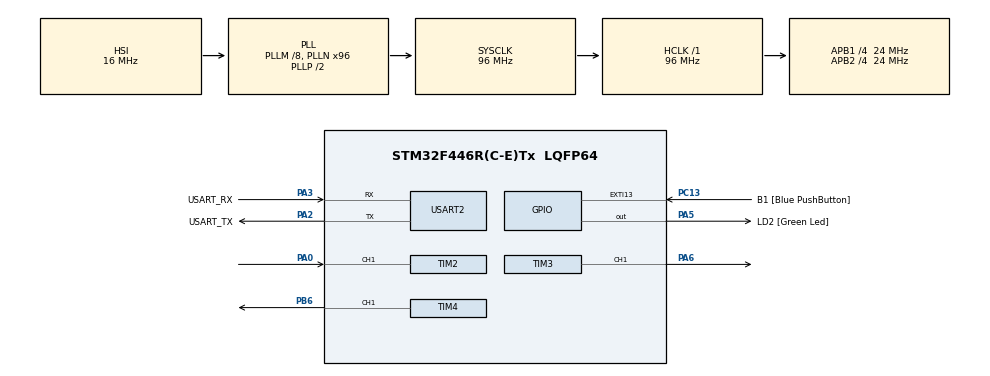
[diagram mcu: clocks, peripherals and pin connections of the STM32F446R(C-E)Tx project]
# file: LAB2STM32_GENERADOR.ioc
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Mcu.Family=STM32F4
Mcu.Name=STM32F446R(C-E)Tx
Mcu.Package=LQFP64
NVIC.PriorityGroup=NVIC_PRIORITYGROUP_0
NVIC.TIM2_IRQn=true\:0\:0\:false\:false\:true\:true\:true\:true
NVIC.TIM3_IRQn=true\:0\:0\:false\:false\:true\:true\:true\:true
NVIC.USART2_IRQn=true\:0\:0\:false\:false\:true\:true\:true\:true
PA0-WKUP.Signal=S_TIM2_CH1_ETR
PA13.GPIO_Label=TMS
PA13.Mode=Serial_Wire
PA13.Signal=SYS_JTMS-SWDIO
PA14.GPIO_Label=TCK
PA14.Mode=Serial_Wire
PA14.Signal=SYS_JTCK-SWCLK
PA2.GPIO_Label=USART_TX
PA2.Mode=Asynchronous
PA2.Signal=USART2_TX
PA3.GPIO_Label=USART_RX
PA3.Mode=Asynchronous
PA3.Signal=USART2_RX
PA5.GPIO_Label=LD2 [Green Led]
PA5.Signal=GPIO_Output
PA6.Signal=S_TIM3_CH1
PB3.GPIO_Label=SWO
PB3.Signal=SYS_JTDO-SWO
PB6.Signal=S_TIM4_CH1
PC13.GPIO_Label=B1 [Blue PushButton]
PC13.GPIO_ModeDefaultEXTI=GPIO_MODE_IT_FALLING
PC13.Signal=GPXTI13
PC14-OSC32_IN.Mode=LSE-External-Oscillator
PC14-OSC32_IN.Signal=RCC_OSC32_IN
PC15-OSC32_OUT.Mode=LSE-External-Oscillator
PC15-OSC32_OUT.Signal=RCC_OSC32_OUT
PH0-OSC_IN.Mode=HSE-External-Oscillator
PH0-OSC_IN.Signal=RCC_OSC_IN
PH1-OSC_OUT.Mode=HSE-External-Oscillator
PH1-OSC_OUT.Signal=RCC_OSC_OUT
ProjectManager.HeapSize=0x200
ProjectManager.StackSize=0x400
ProjectManager.TargetToolchain=STM32CubeIDE
RCC.48MHZClocksFreq_Value=84000000
RCC.AHBFreq_Value=96000000
RCC.APB1CLKDivider=RCC_HCLK_DIV4
RCC.APB1Freq_Value=24000000
RCC.APB1TimFreq_Value=48000000
RCC.APB2CLKDivider=RCC_HCLK_DIV4
RCC.APB2Freq_Value=24000000
RCC.APB2TimFreq_Value=48000000
RCC.CortexFreq_Value=96000000
RCC.FLatency-AdvancedSettings=FLASH_LATENCY_3
RCC.HCLKFreq_Value=96000000
RCC.HSE_VALUE=8000000
RCC.HSI_VALUE=16000000
RCC.PLLM=8
RCC.PLLN=96
RCC.SYSCLKFreq_VALUE=96000000
RCC.SYSCLKSource=RCC_SYSCLKSOURCE_PLLCLK
RCC.USBFreq_Value=96000000
RCC.VCOOutputFreq_Value=192000000
SH.S_TIM2_CH1_ETR.0=TIM2_CH1,Input_Capture1_from_TI1
SH.S_TIM3_CH1.0=TIM3_CH1,PWM Generation1 CH1
SH.S_TIM4_CH1.0=TIM4_CH1,PWM Generation1 CH1
TIM2.AutoReloadPreload=TIM_AUTORELOAD_PRELOAD_ENABLE
TIM2.Channel-Input_Capture1_from_TI1=TIM_CHANNEL_1
TIM2.CounterMode=TIM_COUNTERMODE_UP
TIM2.Prescaler=48-1
TIM3.Channel-PWM\ Generation1\ CH1=TIM_CHANNEL_1
TIM3.Period=49999
TIM3.Prescaler=479
TIM3.Pulse-PWM\ Generation1\ CH1=25000
TIM4.Channel-PWM\ Generation1\ CH1=TIM_CHANNEL_1
TIM4.Period=19999
TIM4.Prescaler=4799
TIM4.Pulse-PWM\ Generation1\ CH1=10000
USART2.VirtualMode=VM_ASYNC
VP_TIM2_VS_ClockSourceINT.Mode=Internal
VP_TIM3_VS_ClockSourceINT.Mode=Internal
VP_TIM4_VS_ClockSourceINT.Mode=Internal
board=NUCLEO-F446RE

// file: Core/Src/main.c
/* USER CODE BEGIN Header */
/**
  ******************************************************************************
  * @file           : main.c
  * @brief          : Main program body
  ******************************************************************************
  * @attention
  *
  * Copyright (c) 2026 STMicroelectronics.
  * All rights reserved.
  *
  * This software is licensed under terms that can be found in the LICENSE file
  * in the root directory of this software component.
  * If no LICENSE file comes with this software, it is provided AS-IS.
  *
  ******************************************************************************
  */
/* USER CODE END Header */
#include "main.h"

/* USER CODE BEGIN Includes */
#include "stdint.h"
#include <stdio.h>
#include <string.h>
/* USER CODE END Includes */

/* USER CODE BEGIN PTD */
void HAL_TIM_IC_CaptureCallback(TIM_HandleTypeDef *htim);
/* USER CODE END PTD */

/* USER CODE BEGIN PD */
#define ftimclick 1000000
/* USER CODE END PD */

TIM_HandleTypeDef htim2;
TIM_HandleTypeDef htim3;
TIM_HandleTypeDef htim4;

UART_HandleTypeDef huart2;

/* USER CODE BEGIN PV */
volatile uint8_t flagmedicion = 0;
volatile uint8_t numflanco = 0;
volatile uint32_t flanco1 = 0;
volatile uint32_t flanco2 = 0;
uint32_t delta = 0;
float frecuencia;
char msg[50];
/* USER CODE END PV */

void SystemClock_Config(void);
static void MX_GPIO_Init(void);
static void MX_TIM2_Init(void);
static void MX_USART2_UART_Init(void);
static void MX_TIM3_Init(void);
static void MX_TIM4_Init(void);

int main(void)
{

  /* MCU Configuration--------------------------------------------------------*/

  /* Reset of all peripherals, Initializes the Flash interface and the Systick. */
  HAL_Init();

  /* Configure the system clock */
  SystemClock_Config();

  /* Initialize all configured peripherals */
  MX_GPIO_Init();
  MX_TIM2_Init();
  MX_USART2_UART_Init();
  MX_TIM3_Init();
  MX_TIM4_Init();
  /* USER CODE BEGIN 2 */
  HAL_TIM_PWM_Start(&htim3, TIM_CHANNEL_1);
  //logica para iniciar el PW
  HAL_TIM_PWM_Start(&htim4, TIM_CHANNEL_1);
  /* USER CODE END 2 */

  /* Infinite loop */
  /* USER CODE BEGIN WHILE */
  while (1)
  {
	  HAL_TIM_IC_Start_IT(&htim2, TIM_CHANNEL_1);
	  while(flagmedicion == 0){
	  }
	  flagmedicion = 0;
	  delta = flanco2 - flanco1;
	  frecuencia = (ftimclick/ (float) delta);
	  sprintf(msg, "Frecuencia Hz = %.2f Hz\r\n", frecuencia);
	  HAL_UART_Transmit(&huart2, (uint8_t*)msg, strlen(msg), HAL_MAX_DELAY);
    /* USER CODE END WHILE */

  }
}

void SystemClock_Config(void)
{
  RCC_OscInitTypeDef RCC_OscInitStruct = {0};
  RCC_ClkInitTypeDef RCC_ClkInitStruct = {0};

  /** Configure the main internal regulator output voltage
  */
  __HAL_RCC_PWR_CLK_ENABLE();
  __HAL_PWR_VOLTAGESCALING_CONFIG(PWR_REGULATOR_VOLTAGE_SCALE3);

  /** Initializes the RCC Oscillators according to the specified parameters
  * in the RCC_OscInitTypeDef structure.
  */
  RCC_OscInitStruct.OscillatorType = RCC_OSCILLATORTYPE_HSI;
  RCC_OscInitStruct.HSIState = RCC_HSI_ON;
  RCC_OscInitStruct.HSICalibrationValue = RCC_HSICALIBRATION_DEFAULT;
  RCC_OscInitStruct.PLL.PLLState = RCC_PLL_ON;
  RCC_OscInitStruct.PLL.PLLSource = RCC_PLLSOURCE_HSI;
  RCC_OscInitStruct.PLL.PLLM = 8;
  RCC_OscInitStruct.PLL.PLLN = 96;
  RCC_OscInitStruct.PLL.PLLP = RCC_PLLP_DIV2;
  RCC_OscInitStruct.PLL.PLLQ = 2;
  RCC_OscInitStruct.PLL.PLLR = 2;
  if (HAL_RCC_OscConfig(&RCC_OscInitStruct) != HAL_OK)
  {
    Error_Handler();
  }

  /** Initializes the CPU, AHB and APB buses clocks
  */
  RCC_ClkInitStruct.ClockType = RCC_CLOCKTYPE_HCLK|RCC_CLOCKTYPE_SYSCLK
                              |RCC_CLOCKTYPE_PCLK1|RCC_CLOCKTYPE_PCLK2;
  RCC_ClkInitStruct.SYSCLKSource = RCC_SYSCLKSOURCE_PLLCLK;
  RCC_ClkInitStruct.AHBCLKDivider = RCC_SYSCLK_DIV1;
  RCC_ClkInitStruct.APB1CLKDivider = RCC_HCLK_DIV4;
  RCC_ClkInitStruct.APB2CLKDivider = RCC_HCLK_DIV4;

  if (HAL_RCC_ClockConfig(&RCC_ClkInitStruct, FLASH_LATENCY_3) != HAL_OK)
  {
    Error_Handler();
  }
}

static void MX_TIM2_Init(void)
{

  TIM_ClockConfigTypeDef sClockSourceConfig = {0};
  TIM_MasterConfigTypeDef sMasterConfig = {0};
  TIM_IC_InitTypeDef sConfigIC = {0};

  htim2.Instance = TIM2;
  htim2.Init.Prescaler = 48-1;
  htim2.Init.CounterMode = TIM_COUNTERMODE_UP;
  htim2.Init.Period = 4294967295;
  htim2.Init.ClockDivision = TIM_CLOCKDIVISION_DIV1;
  htim2.Init.AutoReloadPreload = TIM_AUTORELOAD_PRELOAD_ENABLE;
  if (HAL_TIM_Base_Init(&htim2) != HAL_OK)
  {
    Error_Handler();
  }
  sClockSourceConfig.ClockSource = TIM_CLOCKSOURCE_INTERNAL;
  if (HAL_TIM_ConfigClockSource(&htim2, &sClockSourceConfig) != HAL_OK)
  {
    Error_Handler();
  }
  if (HAL_TIM_IC_Init(&htim2) != HAL_OK)
  {
    Error_Handler();
  }
  sMasterConfig.MasterOutputTrigger = TIM_TRGO_RESET;
  sMasterConfig.MasterSlaveMode = TIM_MASTERSLAVEMODE_DISABLE;
  if (HAL_TIMEx_MasterConfigSynchronization(&htim2, &sMasterConfig) != HAL_OK)
  {
    Error_Handler();
  }
  sConfigIC.ICPolarity = TIM_INPUTCHANNELPOLARITY_RISING;
  sConfigIC.ICSelection = TIM_ICSELECTION_DIRECTTI;
  sConfigIC.ICPrescaler = TIM_ICPSC_DIV1;
  sConfigIC.ICFilter = 0;
  if (HAL_TIM_IC_ConfigChannel(&htim2, &sConfigIC, TIM_CHANNEL_1) != HAL_OK)
  {
    Error_Handler();
  }

}

static void MX_TIM3_Init(void)
{

  TIM_ClockConfigTypeDef sClockSourceConfig = {0};
  TIM_MasterConfigTypeDef sMasterConfig = {0};
  TIM_OC_InitTypeDef sConfigOC = {0};

  htim3.Instance = TIM3;
  htim3.Init.Prescaler = 479;
  htim3.Init.CounterMode = TIM_COUNTERMODE_UP;
  htim3.Init.Period = 49999;
  htim3.Init.ClockDivision = TIM_CLOCKDIVISION_DIV1;
  htim3.Init.AutoReloadPreload = TIM_AUTORELOAD_PRELOAD_DISABLE;
  if (HAL_TIM_Base_Init(&htim3) != HAL_OK)
  {
    Error_Handler();
  }
  sClockSourceConfig.ClockSource = TIM_CLOCKSOURCE_INTERNAL;
  if (HAL_TIM_ConfigClockSource(&htim3, &sClockSourceConfig) != HAL_OK)
  {
    Error_Handler();
  }
  if (HAL_TIM_PWM_Init(&htim3) != HAL_OK)
  {
    Error_Handler();
  }
  sMasterConfig.MasterOutputTrigger = TIM_TRGO_RESET;
  sMasterConfig.MasterSlaveMode = TIM_MASTERSLAVEMODE_DISABLE;
  if (HAL_TIMEx_MasterConfigSynchronization(&htim3, &sMasterConfig) != HAL_OK)
  {
    Error_Handler();
  }
  sConfigOC.OCMode = TIM_OCMODE_PWM1;
  sConfigOC.Pulse = 25000;
  sConfigOC.OCPolarity = TIM_OCPOLARITY_HIGH;
  sConfigOC.OCFastMode = TIM_OCFAST_DISABLE;
  if (HAL_TIM_PWM_ConfigChannel(&htim3, &sConfigOC, TIM_CHANNEL_1) != HAL_OK)
  {
    Error_Handler();
  }
  HAL_TIM_MspPostInit(&htim3);

}

static void MX_TIM4_Init(void)
{

  TIM_ClockConfigTypeDef sClockSourceConfig = {0};
  TIM_MasterConfigTypeDef sMasterConfig = {0};
  TIM_OC_InitTypeDef sConfigOC = {0};

  htim4.Instance = TIM4;
  htim4.Init.Prescaler = 4799;
  htim4.Init.CounterMode = TIM_COUNTERMODE_UP;
  htim4.Init.Period = 19999;
  htim4.Init.ClockDivision = TIM_CLOCKDIVISION_DIV1;
  htim4.Init.AutoReloadPreload = TIM_AUTORELOAD_PRELOAD_DISABLE;
  if (HAL_TIM_Base_Init(&htim4) != HAL_OK)
  {
    Error_Handler();
  }
  sClockSourceConfig.ClockSource = TIM_CLOCKSOURCE_INTERNAL;
  if (HAL_TIM_ConfigClockSource(&htim4, &sClockSourceConfig) != HAL_OK)
  {
    Error_Handler();
  }
  if (HAL_TIM_PWM_Init(&htim4) != HAL_OK)
  {
    Error_Handler();
  }
  sMasterConfig.MasterOutputTrigger = TIM_TRGO_RESET;
  sMasterConfig.MasterSlaveMode = TIM_MASTERSLAVEMODE_DISABLE;
  if (HAL_TIMEx_MasterConfigSynchronization(&htim4, &sMasterConfig) != HAL_OK)
  {
    Error_Handler();
  }
  sConfigOC.OCMode = TIM_OCMODE_PWM1;
  sConfigOC.Pulse = 10000;
  sConfigOC.OCPolarity = TIM_OCPOLARITY_HIGH;
  sConfigOC.OCFastMode = TIM_OCFAST_DISABLE;
  if (HAL_TIM_PWM_ConfigChannel(&htim4, &sConfigOC, TIM_CHANNEL_1) != HAL_OK)
  {
    Error_Handler();
  }
  HAL_TIM_MspPostInit(&htim4);

}

static void MX_USART2_UART_Init(void)
{

  huart2.Instance = USART2;
  huart2.Init.BaudRate = 115200;
  huart2.Init.WordLength = UART_WORDLENGTH_8B;
  huart2.Init.StopBits = UART_STOPBITS_1;
  huart2.Init.Parity = UART_PARITY_NONE;
  huart2.Init.Mode = UART_MODE_TX_RX;
  huart2.Init.HwFlowCtl = UART_HWCONTROL_NONE;
  huart2.Init.OverSampling = UART_OVERSAMPLING_16;
  if (HAL_UART_Init(&huart2) != HAL_OK)
  {
    Error_Handler();
  }

}

static void MX_GPIO_Init(void)
{
  GPIO_InitTypeDef GPIO_InitStruct = {0};

  /* GPIO Ports Clock Enable */
  __HAL_RCC_GPIOC_CLK_ENABLE();
  __HAL_RCC_GPIOH_CLK_ENABLE();
  __HAL_RCC_GPIOA_CLK_ENABLE();
  __HAL_RCC_GPIOB_CLK_ENABLE();

  /*Configure GPIO pin Output Level */
  HAL_GPIO_WritePin(LD2_GPIO_Port, LD2_Pin, GPIO_PIN_RESET);

  /*Configure GPIO pin : B1_Pin */
  GPIO_InitStruct.Pin = B1_Pin;
  GPIO_InitStruct.Mode = GPIO_MODE_IT_FALLING;
  GPIO_InitStruct.Pull = GPIO_NOPULL;
  HAL_GPIO_Init(B1_GPIO_Port, &GPIO_InitStruct);

  /*Configure GPIO pin : LD2_Pin */
  GPIO_InitStruct.Pin = LD2_Pin;
  GPIO_InitStruct.Mode = GPIO_MODE_OUTPUT_PP;
  GPIO_InitStruct.Pull = GPIO_NOPULL;
  GPIO_InitStruct.Speed = GPIO_SPEED_FREQ_LOW;
  HAL_GPIO_Init(LD2_GPIO_Port, &GPIO_InitStruct);

}

/* USER CODE BEGIN 4 */
void HAL_TIM_IC_CaptureCallback(TIM_HandleTypeDef *htim){
	if(numflanco == 0){
		flanco1 = HAL_TIM_ReadCapturedValue(&htim2, TIM_CHANNEL_1);
		numflanco = 1;
	}
	else {
		flanco2 = HAL_TIM_ReadCapturedValue(&htim2, TIM_CHANNEL_1);
		HAL_TIM_IC_Stop(&htim2, TIM_CHANNEL_1);
		numflanco = 0;
		flagmedicion = 1;

	}
}
/* USER CODE END 4 */

void Error_Handler(void)
{
  __disable_irq();
  while (1)
  {
  }
}
